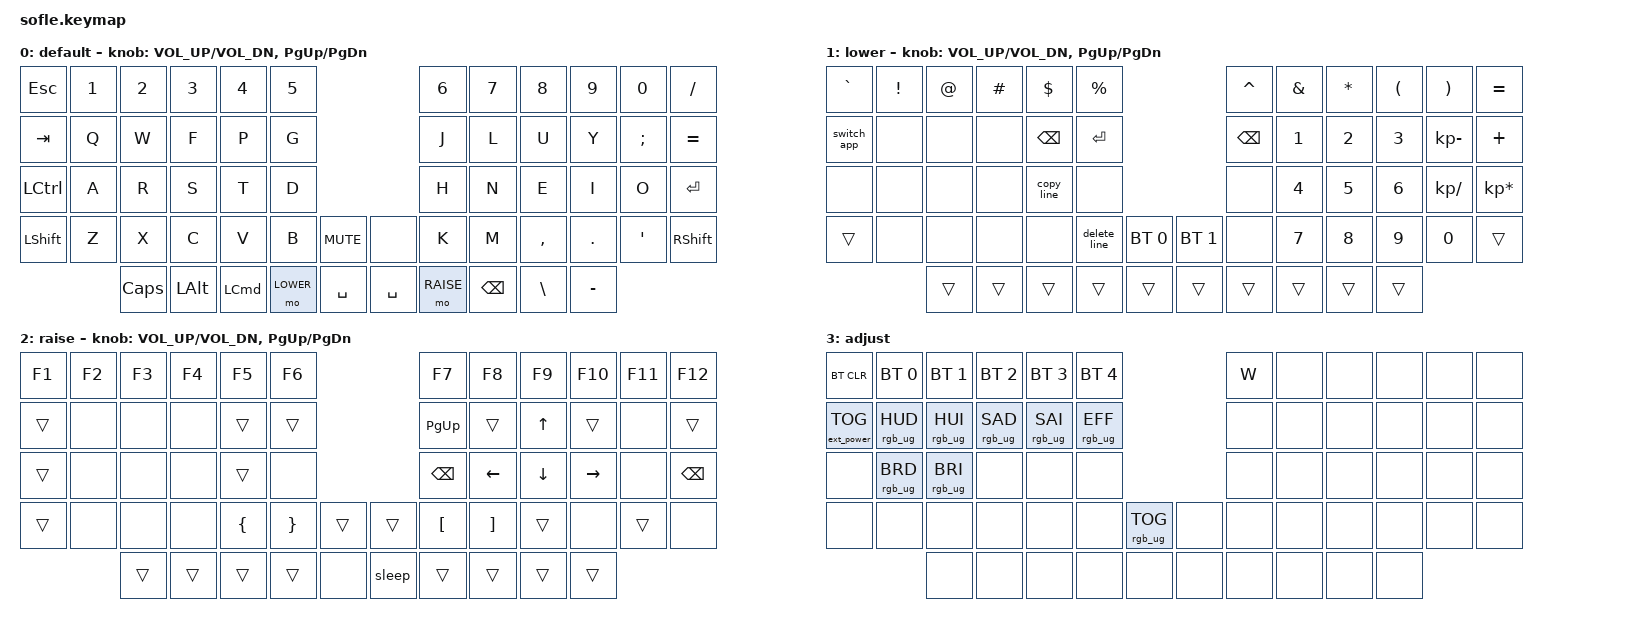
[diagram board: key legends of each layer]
/*
 * Copyright (c) 2020 The ZMK Contributors
 *
 * SPDX-License-Identifier: MIT
 */

#include <behaviors.dtsi>
#include <dt-bindings/zmk/bt.h>
#include <dt-bindings/zmk/ext_power.h>
#include <dt-bindings/zmk/keys.h>
#include <dt-bindings/zmk/rgb.h>

#define BASE 0
#define LOWER 1
#define RAISE 2
#define ADJUST 3

/ {
    // Activate ADJUST layer by pressing raise and lower

    conditional_layers {
        compatible = "zmk,conditional-layers";

        adjust_layer {
            if-layers = <LOWER RAISE>;
            then-layer = <ADJUST>;
        };
    };

    macros {
        sleep: sleep {
            compatible = "zmk,behavior-macro";
            #binding-cells = <0>;
            bindings = <&kp LA(LG(K_POWER))>;
            label = "SLEEP";
        };

        copy_line: copy_line {
            compatible = "zmk,behavior-macro";
            #binding-cells = <0>;
            bindings = <&kp LS(LG(D))>;
            label = "COPY_LINE";
        };

        delete_line: delete_line {
            compatible = "zmk,behavior-macro";
            #binding-cells = <0>;
            bindings = <&kp LS(LG(K))>;
            label = "DELETE_LINE";
        };

        switch_app: switch_app {
            compatible = "zmk,behavior-macro";
            #binding-cells = <0>;
            bindings = <&kp LG(GRAVE)>;
            label = "SWITCH_APP";
        };
    };

    keymap {
        compatible = "zmk,keymap";

        default_layer {
            label = "default";

            // ------------------------------------------------------------------------------------------------------------
            // |   `   |  1  |  2  |  3   |  4   |  5   |                   |  6   |  7    |  8    |  9   |   0   |       |
            // |  ESC  |  Q  |  W  |  E   |  R   |  T   |                   |  Y   |  U    |  I    |  O   |   P   | BKSPC |
            // |  TAB  |  A  |  S  |  D   |  F   |  G   |                   |  H   |  J    |  K    |  L   |   ;   |   '   |
            // | SHIFT |  Z  |  X  |  C   |  V   |  B   |  MUTE  |  |       |  N   |  M    |  ,    |  .   |   /   | SHIFT |
            //               | GUI | ALT  | CTRL | LOWER|  ENTER |  | SPACE | RAISE| CTRL  | ALT   | GUI  |

            bindings = <
&kp ESC         &kp N1  &kp N2    &kp N3    &kp N4    &kp N5                              &kp N6     &kp N7         &kp N8         &kp N9     &kp N0         &kp SLASH
&kp TAB         &kp Q   &kp W     &kp F     &kp P     &kp G                               &kp J      &kp L          &kp U          &kp Y      &kp SEMICOLON  &kp EQUAL
&kp LCTRL       &kp A   &kp R     &kp S     &kp T     &kp D                               &kp H      &kp N          &kp E          &kp I      &kp O          &kp RETURN
&kp LEFT_SHIFT  &kp Z   &kp X     &kp C     &kp V     &kp B      &kp C_MUTE    &none      &kp K      &kp M          &kp COMMA      &kp DOT    &kp SQT        &kp RSHFT
                        &kp CAPS  &kp LALT  &kp LCMD  &mo LOWER  &kp SPACE     &kp SPACE  &mo RAISE  &kp BACKSPACE  &kp BACKSLASH  &kp MINUS
            >;

            sensor-bindings = <&inc_dec_kp C_VOL_UP C_VOL_DN &inc_dec_kp PG_UP PG_DN>;
        };

        lower_layer {
            label = "lower";

            // TODO: Some binds are waiting for shifted keycode support.
            // ------------------------------------------------------------------------------------------------------------
            // |       |  F1 |  F2 |  F3  |  F4  |  F5  |                   |  F6  |  F7   |  F8   |  F9  |  F10  |  F11  |
            // |   `   |  1  |  2  |  3   |  4   |  5   |                   |  6   |  7    |  8    |  9   |   0   |  F12  |
            // |       |  !  |  @  |  #   |  $   |  %   |                   |  ^   |  &    |  *    |  (   |   )   |   |   |
            // |       |  =  |  -  |  +   |  {   |  }   |        |  |       |  [   |  ]    |  ;    |  :   |   \   |       |
            //               |     |      |      |      |        |  |       |      |       |       |      |

            bindings = <
&kp GRAVE    &kp EXCLAMATION  &kp AT_SIGN  &kp HASH  &kp DOLLAR     &kp PERCENT                                 &kp CARET      &kp AMPERSAND  &kp ASTERISK  &kp LEFT_PARENTHESIS  &kp RIGHT_PARENTHESIS  &kp EQUAL
&switch_app  &none            &none        &none     &kp BACKSPACE  &kp ENTER                                   &kp BACKSPACE  &kp NUMBER_1   &kp NUMBER_2  &kp NUMBER_3          &kp KP_MINUS           &kp PLUS
&none        &none            &none        &none     &copy_line     &none                                       &none          &kp NUMBER_4   &kp NUMBER_5  &kp NUMBER_6          &kp KP_DIVIDE          &kp KP_MULTIPLY
&trans       &none            &none        &none     &none          &delete_line  &bt BT_SEL 0    &bt BT_SEL 1  &none          &kp NUMBER_7   &kp NUMBER_8  &kp NUMBER_9          &kp NUMBER_0           &trans
                              &trans       &trans    &trans         &trans        &trans          &trans        &trans         &trans         &trans        &trans
            >;

            sensor-bindings = <&inc_dec_kp C_VOL_UP C_VOL_DN &inc_dec_kp PG_UP PG_DN>;
        };

        raise_layer {
            label = "raise";

            // ------------------------------------------------------------------------------------------------------------
            // | BTCLR | BT1  | BT2  |  BT3  |  BT4  |  BT5 |                |      |      |       |      |       |       |
            // |       | INS  | PSCR | GUI   |       |      |                | PGUP |      |   ^   |      |       |       |
            // |       | ALT  | CTRL | SHIFT |       | CAPS |                | PGDN |   <- |   v   |  ->  |  DEL  | BKSPC |
            // |       | UNDO | CUT  | COPY  | PASTE |      |      |  |      |      |      |       |      |       |       |
            //                |      |       |       |      |      |  |      |      |      |       |      |

            bindings = <
&kp F1  &kp F2  &kp F3  &kp F4  &kp F5          &kp F6                             &kp F7            &kp F8             &kp F9    &kp F10    &kp F11  &kp F12
&trans  &none   &none   &none   &trans          &trans                             &kp PG_UP         &trans             &kp UP    &trans     &none    &trans
&trans  &none   &none   &none   &trans          &none                              &kp BACKSPACE     &kp LEFT           &kp DOWN  &kp RIGHT  &none    &kp BSPC
&trans  &none   &none   &none   &kp LEFT_BRACE  &kp RIGHT_BRACE  &trans    &trans  &kp LEFT_BRACKET  &kp RIGHT_BRACKET  &trans    &none      &trans   &none
                &trans  &trans  &trans          &trans           &none     &sleep  &trans            &trans             &trans    &trans
            >;

            sensor-bindings = <&inc_dec_kp C_VOL_UP C_VOL_DN &inc_dec_kp PG_UP PG_DN>;
        };

        adjust_layer {
            // ----------------------------------------------------------------------------------------------------------------------------
            // | BTCLR  |  BT1    |  BT2    |   BT3   |   BT4   |   BT5   |                  |      |      |       |      |       |       |
            // | EXTPWR | RGB_HUD | RGB_HUI | RGB_SAD | RGB_SAI | RGB_EFF |                  |      |      |       |      |       |       |
            // |        | RGB_BRD | RGB_BRI |         |         |         |                  |      |      |       |      |       |       |
            // |        |         |         |         |         |         | RGB_TOG | |      |      |      |       |      |       |       |
            //                    |         |         |         |         |         | |      |      |      |       |      |

            label = "adjust";
            bindings = <
&bt BT_CLR         &bt BT_SEL 0     &bt BT_SEL 1     &bt BT_SEL 2     &bt BT_SEL 3     &bt BT_SEL 4                               &kp W  &none  &none  &none  &none  &none
&ext_power EP_TOG  &rgb_ug RGB_HUD  &rgb_ug RGB_HUI  &rgb_ug RGB_SAD  &rgb_ug RGB_SAI  &rgb_ug RGB_EFF                            &none  &none  &none  &none  &none  &none
&none              &rgb_ug RGB_BRD  &rgb_ug RGB_BRI  &none            &none            &none                                      &none  &none  &none  &none  &none  &none
&none              &none            &none            &none            &none            &none            &rgb_ug RGB_TOG    &none  &none  &none  &none  &none  &none  &none
                                    &none            &none            &none            &none            &none              &none  &none  &none  &none  &none
            >;
        };
    };
};
